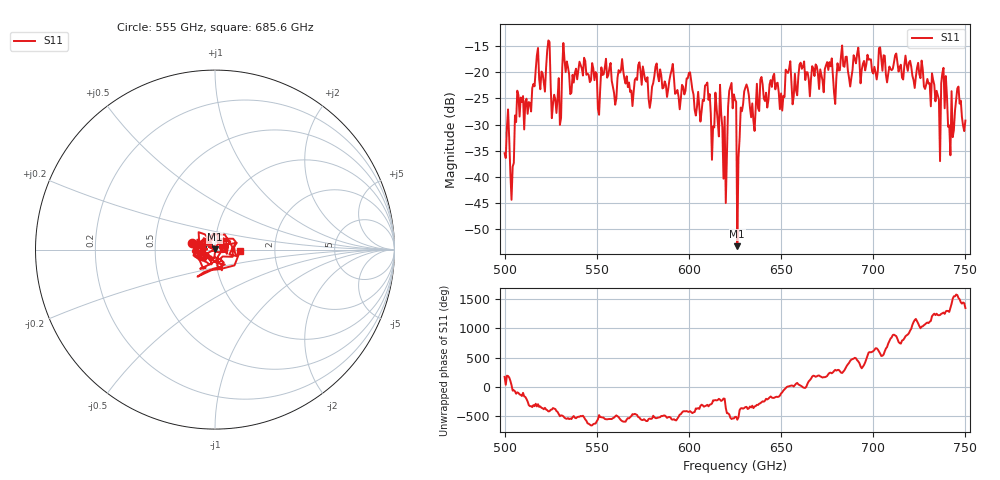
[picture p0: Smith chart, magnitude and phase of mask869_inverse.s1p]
!Created with skrf (http://scikit-rf.org).
# GHz S MA R 50.0
!freq magS11 angS11
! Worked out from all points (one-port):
!   401 points, 500 GHz to 750 GHz, reference 50 ohm
!   lowest |S11| = -53.2 dB at 626.2 GHz (marker M1), VSWR 1.00, Z = 49.8 + j0.0869 ohm
!   |S11| at or under -10 dB: start of sweep to end of sweep
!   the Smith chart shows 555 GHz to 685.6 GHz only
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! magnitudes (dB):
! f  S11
! 500 GHz  -35.5
! 503.8 GHz  -44.4
! 506.9 GHz  -23.5
! 513.8 GHz  -25.9
! 516.9 GHz  -19.5
! 523.8 GHz  -14.0
! 526.9 GHz  -24.3
! 531.2 GHz  -19.3
! 532.5 GHz  -17.7
! 550.6 GHz  -27.0
! 556.2 GHz  -20.6
! 559.4 GHz  -24.0
! 562.5 GHz  -20.1
! 593.8 GHz  -23.4
! 610 GHz  -22.0
! 612.5 GHz  -36.7
! 618.1 GHz  -30.5
! 619.4 GHz  -28.5
! 623.1 GHz  -22.1
! 625 GHz  -25.2
! 626.2 GHz  -53.2
! 631.2 GHz  -22.4
! 635 GHz  -29.3
! 656.2 GHz  -26.1
! 687.5 GHz  -22.7
! 718.8 GHz  -19.8
! 746.2 GHz  -22.8
! 750 GHz  -29.2
